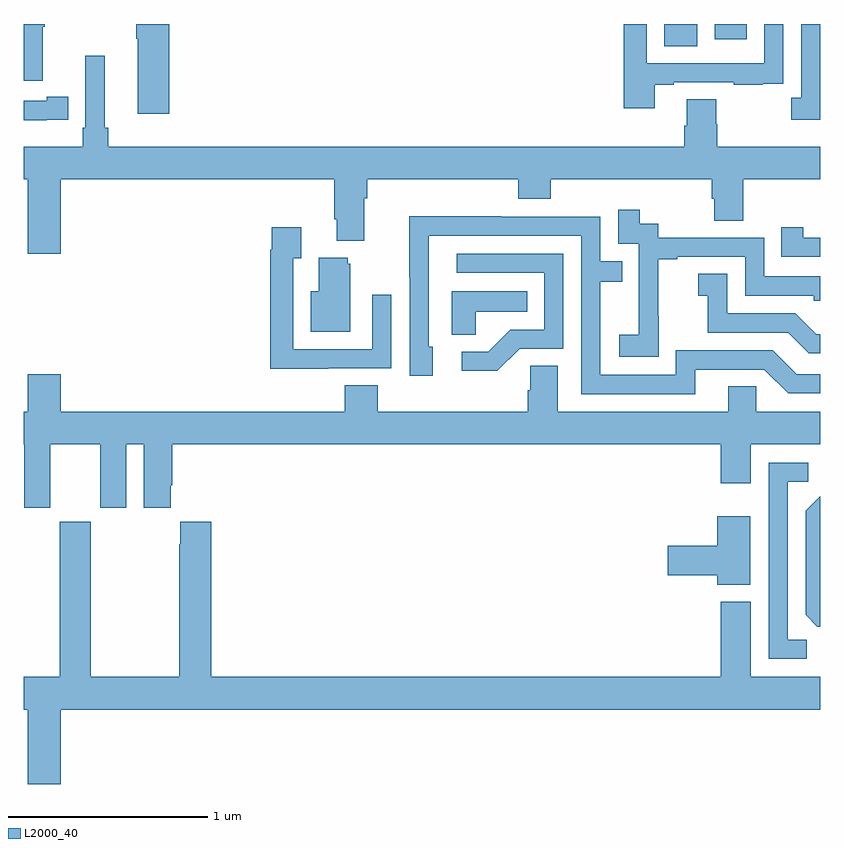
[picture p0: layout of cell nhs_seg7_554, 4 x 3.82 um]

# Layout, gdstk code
import gdstk
lib = gdstk.Library(unit=1e-6, precision=1e-09)
def R(c, l, rs):  # rectangles x0, y0, x1, y1
    for r in rs: c.add(gdstk.rectangle(r[:2], r[2:], *l))
def P(c, l, *ps):  # polygons
    for p in ps: c.add(gdstk.Polygon(p, *l))
L2000_40 = (2000, 40)

nhs_seg7_554 = lib.new_cell('nhs_seg7_554')
R(nhs_seg7_554, L2000_40, [(156.218,1063.888,156.382,1064), (156.47,1063.923,156.631,1064)])
P(nhs_seg7_554, L2000_40, [(157,1064),(156.906,1064),(156.906,1063.63),(156.855,1063.63),(156.855,1063.52),(157,1063.52)],
  [(153.095,1063.987),(153.106,1063.987),(153.106,1064),(153,1064),(153,1063.716),(153.095,1063.716)],
  [(153.731,1064),(153.565,1064),(153.565,1063.927),(153.572,1063.927),(153.572,1063.548),(153.731,1063.548)],
  [(156.169,1063.695),(156.265,1063.695),(156.265,1063.707),(156.565,1063.707),(156.565,1063.695),(156.713,1063.695),(156.713,1063.701),(156.815,1063.701),(156.815,1063.81),(156.816,1063.81),(156.816,1064),(156.72,1064),(156.72,1063.803),(156.129,1063.803),(156.129,1064),(156.013,1064),(156.013,1063.578),(156.169,1063.578)],
  [(153.184,1063.22),(154.559,1063.22),(154.559,1063.018),(154.571,1063.018),(154.571,1062.911),(154.711,1062.911),(154.711,1063.124),(154.724,1063.124),(154.724,1063.22),(155.483,1063.22),(155.483,1063.121),(155.648,1063.121),(155.648,1063.22),(156.455,1063.22),(156.455,1063.122),(156.467,1063.122),(156.467,1063.012),(156.615,1063.012),(156.615,1063.22),(157,1063.22),(157,1063.384),(156.482,1063.384),(156.482,1063.497),(156.477,1063.497),(156.477,1063.622),(156.329,1063.622),(156.329,1063.49),(156.317,1063.49),(156.317,1063.384),(153.425,1063.384),(153.425,1063.48),(153.406,1063.48),(153.406,1063.84),(153.309,1063.84),(153.309,1063.48),(153.296,1063.48),(153.296,1063.384),(153,1063.384),(153,1063.22),(153.02,1063.22),(153.02,1062.846),(153.184,1062.846)],
  [(153.116,1063.518),(153.224,1063.518),(153.224,1063.634),(153.116,1063.634),(153.116,1063.614),(153,1063.614),(153,1063.517),(153.116,1063.517)],
  [(156.189,1062.535),(156.188,1062.535),(156.188,1062.819),(156.283,1062.819),(156.283,1062.831),(156.624,1062.831),(156.624,1062.636),(156.969,1062.636),(156.969,1062.609),(157,1062.609),(157,1062.732),(156.72,1062.732),(156.72,1062.927),(156.186,1062.927),(156.186,1062.996),(156.094,1062.996),(156.094,1063.066),(155.985,1063.066),(155.985,1062.897),(156.09,1062.897),(156.09,1062.668),(156.089,1062.668),(156.089,1062.439),(155.991,1062.439),(155.991,1062.329),(156.189,1062.329)],
  [(156.373,1062.264),(156.72,1062.264),(156.84,1062.144),(157,1062.144),(157,1062.24),(156.882,1062.24),(156.762,1062.36),(156.276,1062.36),(156.276,1062.237),(155.895,1062.237),(155.895,1062.706),(156.005,1062.706),(156.005,1062.807),(155.895,1062.807),(155.895,1063.032),(155.399,1063.032),(155.399,1063.034),(154.936,1063.034),(154.936,1062.727),(154.938,1062.727),(154.938,1062.234),(155.053,1062.234),(155.053,1062.378),(155.034,1062.378),(155.034,1062.936),(155.799,1062.936),(155.799,1062.141),(156.373,1062.141)],
  [(157,1062.927),(156.916,1062.927),(156.916,1062.979),(156.805,1062.979),(156.805,1062.831),(157,1062.831)],
  [(154.529,1062.27),(154.845,1062.27),(154.845,1062.64),(154.749,1062.64),(154.749,1062.366),(154.353,1062.366),(154.353,1062.823),(154.393,1062.823),(154.393,1062.979),(154.245,1062.979),(154.245,1062.866),(154.237,1062.866),(154.237,1062.269),(154.529,1062.269)],
  [(155.49,1062.369),(155.709,1062.369),(155.709,1062.846),(155.175,1062.846),(155.175,1062.75),(155.613,1062.75),(155.613,1062.465),(155.444,1062.465),(155.333,1062.354),(155.199,1062.354),(155.199,1062.257),(155.377,1062.257)],
  [(154.639,1062.795),(154.628,1062.795),(154.628,1062.826),(154.481,1062.826),(154.481,1062.658),(154.442,1062.658),(154.442,1062.455),(154.639,1062.455)],
  [(157,1062.442),(156.98,1062.442),(156.876,1062.546),(156.534,1062.546),(156.534,1062.745),(156.387,1062.745),(156.387,1062.635),(156.436,1062.635),(156.436,1062.45),(156.839,1062.45),(156.944,1062.345),(157,1062.345)],
  [(155.271,1062.554),(155.528,1062.554),(155.528,1062.658),(155.15,1062.658),(155.15,1062.439),(155.271,1062.439)],
  [(153.133,1061.888),(153.383,1061.888),(153.383,1061.571),(153.514,1061.571),(153.514,1061.888),(153.602,1061.888),(153.602,1061.571),(153.739,1061.571),(153.739,1061.683),(153.746,1061.683),(153.746,1061.888),(156.5,1061.888),(156.5,1061.694),(156.652,1061.694),(156.652,1061.888),(157,1061.888),(157,1062.052),(156.678,1062.052),(156.678,1062.179),(156.539,1062.179),(156.539,1062.052),(155.683,1062.052),(155.683,1062.284),(155.544,1062.284),(155.544,1062.161),(155.531,1062.161),(155.531,1062.052),(154.778,1062.052),(154.778,1062.185),(154.613,1062.185),(154.613,1062.052),(153.184,1062.052),(153.184,1062.241),(153.02,1062.241),(153.02,1062.052),(153,1062.052),(153,1061.888),(153.002,1061.888),(153.002,1061.571),(153.133,1061.571)],
  [(156.933,1060.907),(156.837,1060.907),(156.837,1061.7),(156.94,1061.7),(156.94,1061.796),(156.741,1061.796),(156.741,1060.812),(156.933,1060.812)],
  [(157,1061.628),(156.927,1061.554),(156.927,1061.032),(156.986,1060.973),(157,1060.973)],
  [(156.649,1061.527),(156.482,1061.527),(156.482,1061.378),(156.234,1061.378),(156.234,1061.231),(156.482,1061.231),(156.482,1061.183),(156.649,1061.183)],
  [(153.184,1060.556),(157,1060.556),(157,1060.72),(156.652,1060.72),(156.652,1061.098),(156.5,1061.098),(156.5,1060.72),(153.941,1060.72),(153.941,1061.5),(153.785,1061.5),(153.785,1061.387),(153.781,1061.387),(153.781,1060.72),(153.336,1060.72),(153.336,1061.5),(153.181,1061.5),(153.181,1060.72),(153,1060.72),(153,1060.556),(153.02,1060.556),(153.02,1060.182),(153.184,1060.182)])

lib.write_gds('nhs_seg7_554.gds')
